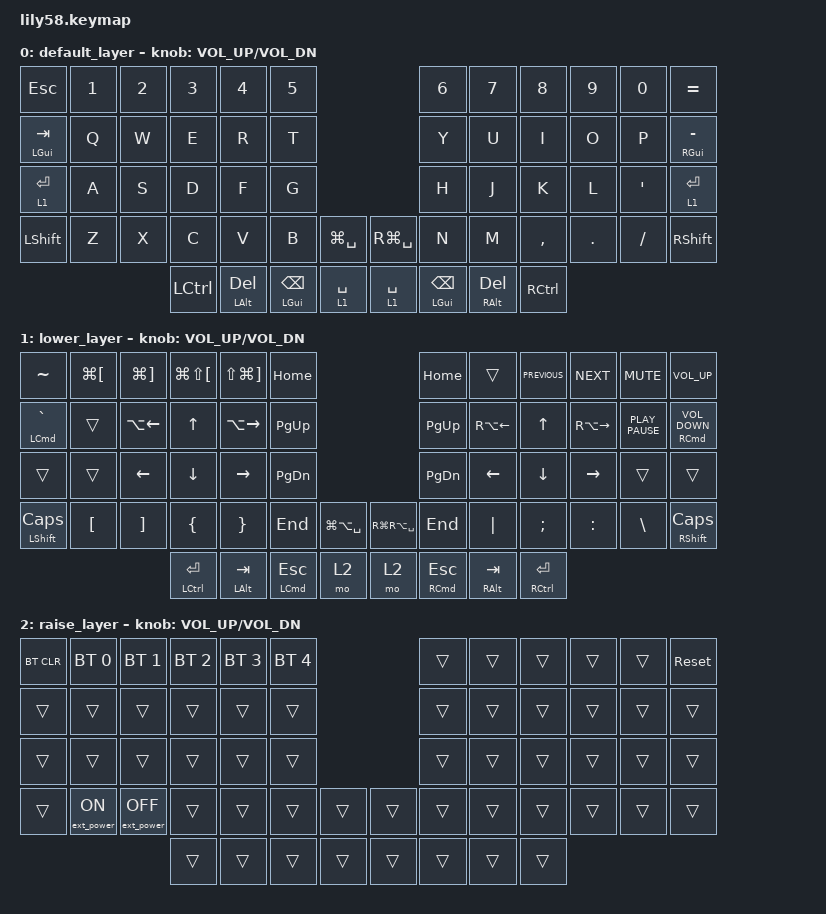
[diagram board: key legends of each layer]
/*
 * Copyright (c) 2020 The ZMK Contributors
 *
 * SPDX-License-Identifier: MIT
 */

#include <behaviors.dtsi>
#include <dt-bindings/zmk/bt.h>
#include <dt-bindings/zmk/ext_power.h>
#include <dt-bindings/zmk/keys.h>

/ {
    keymap {
        compatible = "zmk,keymap";

        default_layer {
            // ----------------------------------------------------------------------------------------------------------------
            // |  ESC  |  1  |  2  |   3  |   4   |   5   |                      |   6   |  7    |  8   |  9   |   0   |  + =  |
            // |  TAB  |  Q  |  W  |   E  |   R   |   T   |                      |   Y   |  U    |  I   |  O   |   P   |  - _  |
            // |   L1  |  A  |  S  |   D  |   F   |   G   |                      |   H   |  J    |  K   |  L   |   '   |  L1   |
            // | SHIFT |  Z  |  X  |   C  |   V   |   B   |  ALFRED  || ALFRED   |   N   |  M    |  ,   |  .   |   /   | SHIFT |
            //                     | CTRL |ALT/DEL|CMD/BKS| SPACE/L1 || SPACE/L1 |CMD/BKS|ALT/DEL| CTRL |

            bindings = <
&kp ESC           &kp N1  &kp N2  &kp N3     &kp N4               &kp N5                                                  &kp N6                  &kp N7                &kp N8     &kp N9   &kp N0    &kp EQUAL
&mt LEFT_GUI TAB  &kp Q   &kp W   &kp E      &kp R                &kp T                                                   &kp Y                   &kp U                 &kp I      &kp O    &kp P     &mt RIGHT_GUI MINUS
&lt 1 RET         &kp A   &kp S   &kp D      &kp F                &kp G                                                   &kp H                   &kp J                 &kp K      &kp L    &kp SQT   &lt 1 RET
&kp LSHFT         &kp Z   &kp X   &kp C      &kp V                &kp B                   &kp LG(SPACE)    &kp RG(SPACE)  &kp N                   &kp M                 &kp COMMA  &kp DOT  &kp FSLH  &kp RSHFT
                                  &kp LCTRL  &mt LEFT_ALT DELETE  &mt LEFT_GUI BACKSPACE  &lt 1 SPACE      &lt 1 SPACE    &mt LEFT_GUI BACKSPACE  &mt RIGHT_ALT DELETE  &kp RCTRL
            >;

            sensor-bindings = <&inc_dec_kp C_VOL_UP C_VOL_DN>;
        };

        lower_layer {
            // ------------------------------------------------------------------------------------------------------------
            // |   ~    |     | BT2 |  BT3 |  BT4 |  BT5 |                      |      |       |       |      |       |       |
            // |   `   |  F2 |  F3 |  F4  |  F5  |  F6  |                      |  F7  |  F8   |  F9   |  F10 |  F11  |  F12  |
            // |       |  !  |  @  |  #   |  $   |  %   |                      |  ^   |  &    |  *    |  (   |   )   |   ~   |
            // |       |     |     |      |      |      | CLIPBD   | | CLIPBD  |      |  _    |  +    |  {   |   }   |  "|"  |
            //                     |      |      |      | SPACE/L2 | | SPACE/L2|      |       |       |

            bindings = <
&kp TILDE               &kp LG(LEFT_BRACKET)  &kp LG(RIGHT_BRACKET)  &kp LG(LS(LEFT_BRACKET))  &kp LS(LG(RIGHT_BRACKET))  &kp HOME                                                         &kp HOME                  &trans              &kp K_PREVIOUS   &kp K_NEXT       &kp K_MUTE        &kp C_VOL_UP
&mt LEFT_COMMAND GRAVE  &trans                &kp LA(LEFT_ARROW)     &kp UP_ARROW              &kp LA(RIGHT_ARROW)        &kp PAGE_UP                                                      &kp PAGE_UP               &kp RA(LEFT_ARROW)  &kp UP_ARROW     &kp RA(RIGHT)    &kp K_PLAY_PAUSE  &mt RIGHT_COMMAND K_VOLUME_DOWN
&trans                  &trans                &kp LEFT_ARROW         &kp DOWN_ARROW            &kp RIGHT_ARROW            &kp PAGE_DOWN                                                    &kp PAGE_DOWN             &kp LEFT_ARROW      &kp DOWN_ARROW   &kp RIGHT_ARROW  &trans            &trans
&mt LEFT_SHIFT CAPS     &kp LEFT_BRACKET      &kp RIGHT_BRACKET      &kp LEFT_BRACE            &kp RIGHT_BRACE            &kp END                  &kp LG(LA(SPACE))    &kp RG(RA(SPACE))  &kp END                   &kp PIPE            &kp SEMICOLON    &kp COLON        &kp BACKSLASH     &mt RIGHT_SHIFT CAPSLOCK
                                                                     &mt LCTRL RET             &mt LEFT_ALT TAB           &mt LEFT_COMMAND ESCAPE  &mo 2                &mo 2              &mt RIGHT_COMMAND ESCAPE  &mt RIGHT_ALT TAB   &mt RCTRL ENTER
            >;

            sensor-bindings = <&inc_dec_kp C_VOL_UP C_VOL_DN>;
        };

        raise_layer {
            // ------------------------------------------------------------------------------------------------------------
            // | BTCLR | BT1 | BT2 |  BT3 |  BT4 |  BT5 |                    |      |       |       |      |       |       |
            // |   `   |  1  |  2  |  3   |  4   |  5   |                   |  6   |   7   |   8   |  9   |   0   |       |
            // |   F1  |  F2 |  F3 |  F4  |  F5  |  F6  |                   |      |   <-  |   v   |  ^   |  ->   |       |
            // |   F7  |  F8 |  F9 |  F10 |  F11 |  F12 |        |  |       |  +   |   -   |   =   |  [   |   ]   |   \   |
            //                     |      |      |      |        |  |       |      |       |       |

            bindings = <
&bt BT_CLR  &bt BT_SEL 0      &bt BT_SEL 1       &bt BT_SEL 2  &bt BT_SEL 3  &bt BT_SEL 4                    &trans  &trans  &trans  &trans  &trans  &sys_reset
&trans      &trans            &trans             &trans        &trans        &trans                          &trans  &trans  &trans  &trans  &trans  &trans
&trans      &trans            &trans             &trans        &trans        &trans                          &trans  &trans  &trans  &trans  &trans  &trans
&trans      &ext_power EP_ON  &ext_power EP_OFF  &trans        &trans        &trans        &trans    &trans  &trans  &trans  &trans  &trans  &trans  &trans
                                                 &trans        &trans        &trans        &trans    &trans  &trans  &trans  &trans
            >;

            sensor-bindings = <&inc_dec_kp C_VOL_UP C_VOL_DN>;
        };
    };
};
